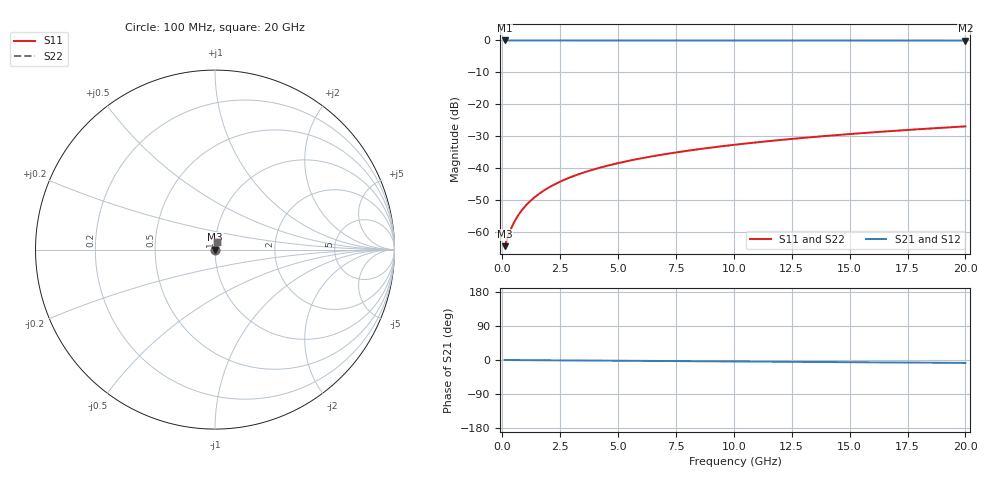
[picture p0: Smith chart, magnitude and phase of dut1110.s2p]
! Touchstone file exported from HFSS 2026.1.0
!  File:  C:/ffzhzh/LocalFiles/Ansys_Project_Files/temp_train_TSV_1110_1783190717_18472.aedt
!  Generated:  02:47:25 AM Jul  5, 2026
!  Design:  TSV
!  Project:  temp_train_TSV_1110_1783190717_18472
! Variables:
!  h_bsmrdl = 2um
!  h_ox = 20um
!  h_rdl = 5um
!  h_sub = 74.57um
!  h_tmrdl = 5um
!  h_tsv = 74.57um
!  h_via = 3um
!  l_bsmrdl = 300um
!  l_sub = 408.14um
!  l_tmrdl = 200um
!  m_sub = 200um
!  pitch = 27.31um
!  r_tsv = 4.07um
!  s_tmrdl = 10um
!  w_bsmrdl = 18um
!  w_sub = 500um
!  w_tmrdl = 12um
!  x_tsv_center1 = 206um
!  x_tsv_center2 = 524um
!  x_tsv_center3 = 736um
!  x_tsv_center4 = 1054um
!  x_tsv_center5 = 1266um
!  x_tsv_center6 = 1584um
# GHz S MA R 50.000000
! Terminal data exported
! Port[1] = TSV1_1_T1
! Port[2] = TSV1_1_T2
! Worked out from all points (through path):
!   200 points, 100 MHz to 20 GHz, reference 50 ohm
!   highest |S21| = 0.00 dB at 100 MHz (marker M1); lowest = 0.0 dB at 20 GHz (marker M2)
!   group delay of S21, straight-line fit = 1.06 ps
!   lowest |S11| = -64.3 dB at 100 MHz (marker M3), VSWR 1.00, Z = 50.1 + j0.0268 ohm
!   |S11| at or under -10 dB: start of sweep to end of sweep
!   |S22| runs from -64.3 to -26.9 dB; largest |S21 - S12| = 3.4e-15
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0.1  0.0006085 26.1  0.9995 -0.0  0.9995 -0.0  0.0006085 26.1
! Gamma 0 0 0 0
! Port Impedance 50 0 50 0
0.3  0.0009718 53.7  0.9994 -0.1  0.9994 -0.1  0.0009718 53.7
0.4  0.001189 60.2  0.9994 -0.2  0.9994 -0.2  0.001189 60.2
0.5  0.001414 64.7  0.9994 -0.2  0.9994 -0.2  0.001414 64.7
0.6  0.001644 68.0  0.9994 -0.2  0.9994 -0.2  0.001644 68.0
0.7  0.001877 70.5  0.9994 -0.3  0.9994 -0.3  0.001877 70.5
0.9  0.002349 73.9  0.9994 -0.4  0.9994 -0.4  0.002349 73.9
1.2  0.003068 77.1  0.9993 -0.5  0.9993 -0.5  0.003068 77.1
1.4  0.003551 78.4  0.9993 -0.6  0.9993 -0.6  0.003551 78.4
1.7  0.004276 79.8  0.9993 -0.7  0.9993 -0.7  0.004276 79.8
2.2  0.005484 81.1  0.9992 -0.9  0.9992 -0.9  0.005484 81.1
2.8  0.006924 81.9  0.9991 -1.1  0.9991 -1.1  0.006924 81.9
3.5  0.008585 82.3  0.999 -1.4  0.999 -1.4  0.008585 82.3
4.2  0.01023 82.4  0.9989 -1.7  0.9989 -1.7  0.01023 82.4
5  0.01208 82.5  0.9988 -2.0  0.9988 -2.0  0.01208 82.5
5.9  0.01414 82.4  0.9986 -2.3  0.9986 -2.3  0.01414 82.4
6.8  0.01618 82.3  0.9985 -2.7  0.9985 -2.7  0.01618 82.3
8.3  0.01955 82.1  0.9982 -3.2  0.9982 -3.2  0.01955 82.1
10.1  0.02356 81.8  0.998 -3.9  0.998 -3.9  0.02356 81.8
13.4  0.03087 81.1  0.9975 -5.2  0.9975 -5.2  0.03087 81.1
16.7  0.03814 80.2  0.997 -6.4  0.997 -6.4  0.03814 80.2
20  0.04536 79.2  0.9965 -7.7  0.9965 -7.7  0.04536 79.2
